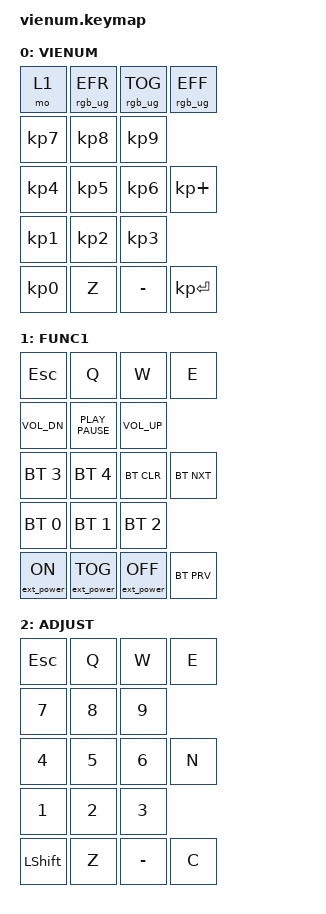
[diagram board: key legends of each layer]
/*
 * Copyright (c) 2021 Nick Winans
 *
 * SPDX-License-Identifier: MIT
 */

#include <behaviors.dtsi>
#include <dt-bindings/zmk/bt.h>
#include <dt-bindings/zmk/ext_power.h>
#include <dt-bindings/zmk/keys.h>
#include <dt-bindings/zmk/rgb.h>

/ {
    keymap {
        compatible = "zmk,keymap";

        default_layer {
            // -------------------------------------------------------------------------------------
            // | ESC |  Q  |  W  |  E  |  R  |  T  |  Y  |  U   |  I  |  O  |  P  | BKSP |  PLAY/PAUSE |
            // | TAB  |  A  |  S  |  D  |  F  |  G  |  H  |  J   |  K  |  L  |   ENTER   |
            // | SHFT  |  Z  |  X  |  C  |  V  |  B  |  N  |  M   | FN1 | FN2 |      UP  |
            //      | CTRL |  ALT |                 SPACE                  | LEFT | DOWN | RIGHT |

            label = " VIENUM";
            bindings = <
&mo 1            &rgb_ug RGB_EFR  &rgb_ug RGB_TOG  &rgb_ug RGB_EFF
&kp KP_NUMBER_7  &kp KP_NUMBER_8  &kp KP_NUMBER_9
&kp KP_NUMBER_4  &kp KP_NUMBER_5  &kp KP_NUMBER_6  &kp KP_PLUS
&kp KP_N1        &kp KP_NUMBER_2  &kp KP_NUMBER_3
&kp KP_NUMBER_0  &kp Z            &kp MINUS        &kp KP_ENTER
            >;
        };

        lower_layer {
            // -------------------------------------------------------------------------------------
            // | F1  | F2  | F3  | F4  | F5  | F6  | F7  | F8  | F9  | F10 | F11 | F12 |     |
            // | N1  | N2  | N3  | N4  | N5  | N6  | N7  | N8  | N9  | N0  |  -  |
            // |     |     |     |     |     |     |     |     |     |     |     |
            // |     |     |     |     |     |     |

            label = " FUNC1";
            bindings = <
&kp ESC           &kp Q              &kp W              &kp E
&kp K_VOL_DN      &kp K_PLAY_PAUSE   &kp K_VOL_UP
&bt BT_SEL 3      &bt BT_SEL 4       &bt BT_CLR         &bt BT_NXT
&bt BT_SEL 0      &bt BT_SEL 1       &bt BT_SEL 2
&ext_power EP_ON  &ext_power EP_TOG  &ext_power EP_OFF  &bt BT_PRV
            >;
        };

        adjust_layer {
            // -------------------------------------------------------------------------------------
            // | RGB BRI+ | RGB SAT+ | RGB HUE+ | RGB ANI+ | RGB TOG |  BT1  |  BT2  |  BT3  |  BT4  |  BT5  | BT CLR |     |     |
            // | RGB BRI- | RGB SAT- | RGB HUE- | RGB ANI- |         |       |       |       |       |       |        |
            // |  RESET   |          |          |          |         |       |       |       |       |       |        |
            // |          |          |                 SPACE                 | BT_PRV|       | BT_NXT|

            label = "ADJUST";
            bindings = <
&kp ESC    &kp Q   &kp W      &kp E
&kp N7     &kp N8  &kp N9
&kp N4     &kp N5  &kp N6     &kp N
&kp N1     &kp N2  &kp N3
&kp LSHFT  &kp Z   &kp MINUS  &kp C
            >;
        };
    };
};
